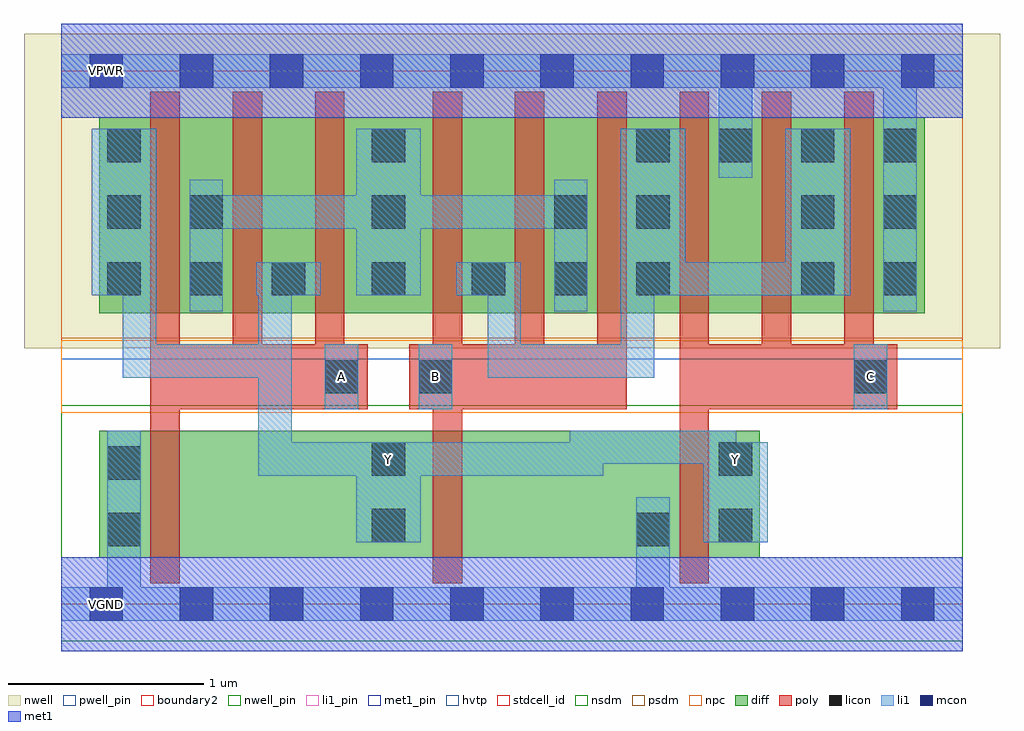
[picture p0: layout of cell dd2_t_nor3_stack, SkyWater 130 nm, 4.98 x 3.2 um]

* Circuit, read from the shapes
.subckt dd2_t_nor3_stack A B C VGND VNB VPB VPWR Y
XM1 Y A VGND VNB sky130_fd_pr__nfet_01v8 w=0.65 l=0.15
XM2 VGND B Y VNB sky130_fd_pr__nfet_01v8 w=0.65 l=0.15
XM3 Y C VGND VNB sky130_fd_pr__nfet_01v8 w=0.65 l=0.15
XM4 n1 A Y VPB sky130_fd_pr__pfet_01v8_hvt w=1 l=0.15 m=3
XM5 n2 B n1 VPB sky130_fd_pr__pfet_01v8_hvt w=1 l=0.15 m=3
XM6 VPWR C n2 VPB sky130_fd_pr__pfet_01v8_hvt w=1 l=0.15 m=3
.ends

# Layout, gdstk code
import gdstk
lib = gdstk.Library(unit=1e-6, precision=1e-09)
def R(c, l, rs):  # rectangles x0, y0, x1, y1
    for r in rs: c.add(gdstk.rectangle(r[:2], r[2:], *l))
def A(c, l, x, y, w, h, nx, ny, dx, dy):  # array of equal rectangles
    R(c, l, [(x+i*dx, y+j*dy, x+i*dx+w, y+j*dy+h) for i in range(nx) for j in range(ny)])
nwell_pin = (64, 16)
nwell = (64, 20)
diff = (65, 20)
poly = (66, 20)
licon = (66, 44)
li1_pin = (67, 16)
li1 = (67, 20)
mcon = (67, 44)
met1_pin = (68, 16)
met1 = (68, 20)
hvtp = (78, 44)
stdcell_id = (81, 4)
nsdm = (93, 44)
psdm = (94, 20)
npc = (95, 20)
pwell_pin = (122, 16)
boundary2 = (236, 0)

dd2_t_nor3_stack = lib.new_cell('dd2_t_nor3_stack')
R(dd2_t_nor3_stack, nwell_pin, [(0.145,2.635,0.315,2.805)])
R(dd2_t_nor3_stack, nwell, [(-0.19,1.305,4.79,2.91)])
A(dd2_t_nor3_stack, diff, 2.18, 1.485, 0.42, 1, 4, 1, 0.42, 0)
R(dd2_t_nor3_stack, diff, [(0.195,0.235,1.67,0.885), (1.67,0.235,3.02,0.885), (3.02,0.235,3.565,0.885), (0.195,1.485,0.74,2.485), (0.74,1.485,1.16,2.485), (1.16,1.485,1.67,2.485), (1.67,1.485,2.18,2.485), (3.86,1.485,4.405,2.485)])
R(dd2_t_nor3_stack, poly, [(0.455,0.105,0.605,2.615), (1.895,0.105,2.045,2.615), (3.155,0.105,3.305,2.615), (0.455,0.995,1.445,1.325), (0.875,0.995,1.025,2.615), (1.295,0.995,1.445,2.615), (1.295,0.995,1.565,1.325), (1.775,0.995,2.045,1.325), (1.895,0.995,2.885,1.325), (2.315,0.995,2.465,2.615), (2.735,0.995,2.885,2.615), (3.155,0.995,4.145,1.325), (3.575,0.995,3.725,2.615), (3.995,0.995,4.145,2.615), (3.995,0.995,4.265,1.325)])
A(dd2_t_nor3_stack, licon, 0.235, 1.575, 0.17, 0.17, 3, 1, 0.42, 0)
A(dd2_t_nor3_stack, licon, 2.095, 1.575, 0.17, 0.17, 3, 1, 0.42, 0)
A(dd2_t_nor3_stack, licon, 0.655, 1.915, 0.17, 0.17, 3, 1, 0.93, 0)
A(dd2_t_nor3_stack, licon, 0.235, 2.255, 0.17, 0.17, 3, 1, 1.35, 0)
A(dd2_t_nor3_stack, licon, 3.355, 2.255, 0.17, 0.17, 3, 1, 0.42, 0)
R(dd2_t_nor3_stack, licon, [(0.235,0.295,0.405,0.465), (2.935,0.295,3.105,0.465), (1.585,0.315,1.755,0.485), (3.355,0.315,3.525,0.485), (0.235,0.635,0.405,0.805), (1.585,0.655,1.755,0.825), (3.355,0.655,3.525,0.825), (1.345,1.075,1.515,1.245), (1.825,1.075,1.995,1.245), (4.045,1.075,4.215,1.245), (1.585,1.575,1.755,1.745), (3.775,1.575,3.945,1.745), (4.195,1.575,4.365,1.745), (0.235,1.915,0.405,2.085), (2.935,1.915,3.105,2.085), (3.775,1.915,3.945,2.085), (4.195,1.915,4.365,2.085)])
R(dd2_t_nor3_stack, li1_pin, [(1.585,0.655,1.755,0.825), (3.355,0.655,3.525,0.825), (1.345,1.075,1.515,1.245), (1.825,1.075,1.995,1.245), (4.045,1.075,4.215,1.245)])
A(dd2_t_nor3_stack, li1, 0.155, 1.575, 0.33, 0.51, 3, 2, 1.35, 0.34)
A(dd2_t_nor3_stack, li1, 0.995, 1.575, 0.33, 0.17, 3, 1, 0.51, 0)
R(dd2_t_nor3_stack, li1, [(0,-0.085,4.6,0.085), (0.235,-0.085,0.405,0.545), (2.935,-0.085,3.105,0.545), (0.235,0.295,0.405,0.885), (1.505,0.315,1.835,0.825), (3.275,0.315,3.605,0.825), (1.005,0.655,1.675,0.825), (1.005,0.655,1.175,1.745), (1.505,0.655,1.835,0.825), (1.665,0.655,2.765,0.825), (2.595,0.655,2.765,0.885), (3.275,0.655,3.605,0.825), (3.275,0.655,3.445,0.885), (2.595,0.715,3.445,0.885), (1.345,0.995,1.515,1.325), (1.825,0.995,1.995,1.325), (4.045,0.995,4.215,1.325), (0.315,1.155,1.175,1.325), (0.315,1.155,0.485,1.745), (2.175,1.155,2.345,1.745), (2.175,1.155,3.025,1.325), (2.855,1.155,3.025,1.745), (0.655,1.495,0.825,1.825), (2.515,1.495,2.685,1.825), (4.195,1.495,4.365,2.085), (0.155,1.575,0.485,1.745), (0.655,1.575,0.825,2.165), (1.505,1.575,1.675,2.085), (2.515,1.575,2.685,2.165), (2.855,1.575,3.185,1.745), (3.015,1.575,3.865,1.745), (3.695,1.575,4.025,1.745), (3.695,1.575,4.025,2.085), (0.655,1.655,0.825,2.085), (2.515,1.655,2.685,2.085), (0.655,1.825,0.825,1.915), (0.655,1.825,0.825,1.915), (0.655,1.825,0.825,1.915), (0.655,1.825,0.825,1.915), (2.515,1.825,2.685,1.915), (2.515,1.825,2.685,1.915), (2.515,1.825,2.685,1.915), (2.515,1.825,2.685,1.915), (4.195,1.835,4.365,2.425), (0.655,1.915,1.675,2.085), (1.505,1.915,2.685,2.085), (3.695,1.915,4.025,2.425), (4.195,2.085,4.365,2.175), (4.195,2.085,4.365,2.175), (4.195,2.085,4.365,2.175), (4.195,2.085,4.365,2.175), (3.355,2.175,3.525,2.805), (4.195,2.175,4.365,2.805), (0,2.635,4.6,2.805)])
A(dd2_t_nor3_stack, mcon, 0.145, -0.085, 0.17, 0.17, 10, 2, 0.46, 2.72)
R(dd2_t_nor3_stack, met1_pin, [(0.145,-0.085,0.315,0.085), (0.145,2.635,0.315,2.805)])
R(dd2_t_nor3_stack, met1, [(0,-0.24,4.6,0.24), (0,2.48,4.6,2.96)])
R(dd2_t_nor3_stack, hvtp, [(0,1.25,4.6,2.72)])
R(dd2_t_nor3_stack, stdcell_id, [(0,0,4.6,2.72)])
R(dd2_t_nor3_stack, nsdm, [(0,-0.19,4.6,1.015)])
R(dd2_t_nor3_stack, psdm, [(0,1.355,4.6,2.91)])
R(dd2_t_nor3_stack, npc, [(0,0.975,4.6,1.345)])
R(dd2_t_nor3_stack, pwell_pin, [(0.145,-0.085,0.315,0.085)])
R(dd2_t_nor3_stack, boundary2, [(0,0,4.6,2.72)])
dd2_t_nor3_stack.add(gdstk.Label('A', (1.43,1.16), layer=67, texttype=5))
dd2_t_nor3_stack.add(gdstk.Label('B', (1.91,1.16), layer=67, texttype=5))
dd2_t_nor3_stack.add(gdstk.Label('C', (4.13,1.16), layer=67, texttype=5))
dd2_t_nor3_stack.add(gdstk.Label('Y', (1.67,0.74), layer=67, texttype=5))
dd2_t_nor3_stack.add(gdstk.Label('Y', (3.44,0.74), layer=67, texttype=5))
dd2_t_nor3_stack.add(gdstk.Label('VGND', (0.23,0), layer=68, texttype=5))
dd2_t_nor3_stack.add(gdstk.Label('VPWR', (0.23,2.72), layer=68, texttype=5))
dd2_t_nor3_stack.add(gdstk.Label('VPB', (0.23,2.72), layer=64, texttype=5))
dd2_t_nor3_stack.add(gdstk.Label('VNB', (0.23,0), layer=64, texttype=59))

lib.write_gds('dd2_t_nor3_stack.gds')
